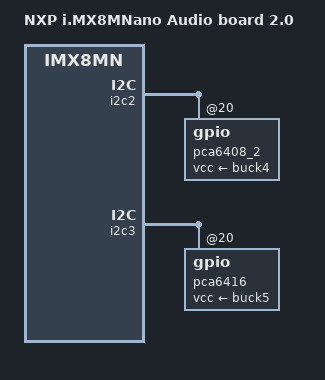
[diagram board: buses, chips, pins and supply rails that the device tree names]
// SPDX-License-Identifier: (GPL-2.0+ OR MIT)
/*
 * Copyright 2021 NXP
 */

/dts-v1/;

#include "imx8mn-evk.dts"
#include "imx8mn-ab2.dtsi"

/ {
	model = "NXP i.MX8MNano Audio board 2.0";
	compatible = "fsl,imx8mn-ab2", "fsl,imx8mn";
};

&i2c2 {
	pca6408_2: gpio@20 {
		vcc-supply = <&buck4>;
	};
};

&i2c3 {
	pca6416: gpio@20 {
		vcc-supply = <&buck5>;
	};
};
